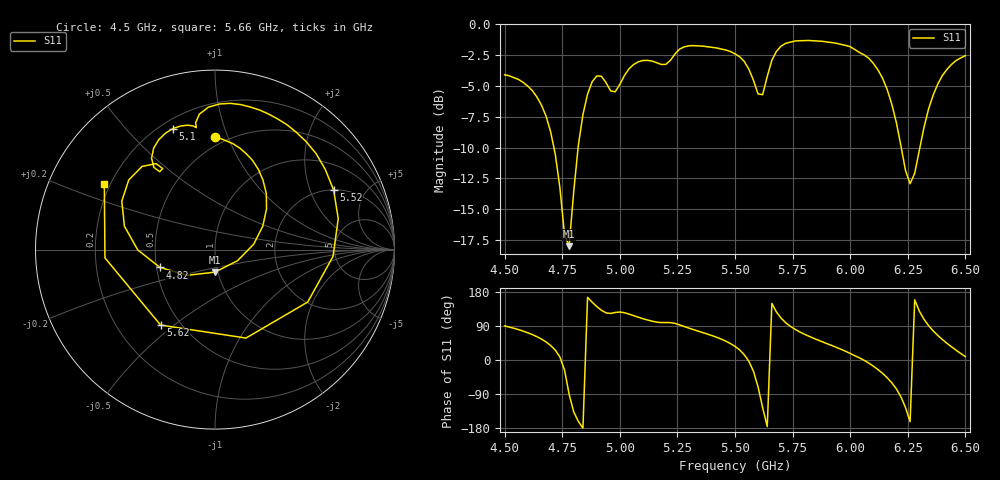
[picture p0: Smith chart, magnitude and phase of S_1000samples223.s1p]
! TOUCHSTONE file generated by CST MICROWAVE STUDIO
! Date and time: Thu Oct 27 10:35:22 2022
! Project name: L.cst
! Parameters = {Di=1.27; Epsilon_r=1.56; InnerDiameter=1.27; Length=2; Lf=10; Lg=60; OuterConductorThickness=0.2921; OuterDiameter=3.6; Wf=3; Wp=41.2; de=1.5; df=6.8; g=0.8; gx=0.69545; gy=0.935862; h=2.34; hf=1.524; px=14.1686; py=11.6259; w=9.7; wx=13.4732; wy=10.69}
! Header version: 2018
! Port assignment regex: !\s*Touchstone port\s*([0-9]+)\s*=\s*(CST MWS port|CST DS port)\s*([0-9]+|Zmin|Zmax)\s*\(\"(.*)\"\)(\s*mode\s*([0-9]+))?.*
! Touchstone port assignment:
! Touchstone port 1 = CST MWS port 1 ("")
# GHz S DB R 50
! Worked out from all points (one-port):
!   101 points, 4.5 GHz to 6.5 GHz, reference 50 ohm
!   lowest |S11| = -18.0 dB at 4.78 GHz (marker M1), VSWR 1.29, Z = 48.4 - j12.3 ohm
!   |S11| at or under -10 dB: 4.714 GHz to 4.819 GHz (105.2 MHz wide, 2.21 % of centre); 6.222 GHz to 6.303 GHz (81.01 MHz wide, 1.29 % of centre)
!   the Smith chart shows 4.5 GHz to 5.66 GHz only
!   S11 on the Smith chart (normalised r, x): 4.5 GHz: 0.44, +0.90; 4.82 GHz: 0.52, -0.12; 5.1 GHz: 0.25, +0.68; 5.52 GHz: 2.01, +2.95; 5.62 GHz: 0.39, -0.45; 5.66 GHz: 0.18, +0.27
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4.5  -4.09 90.1
4.68  -7.45 47.6
4.76  -17.09 -26.3
4.78  -18.02 -90.3
4.82  -9.83 -162.0
4.86  -5.66 165.5
4.92  -4.20 131.3
5  -4.87 126.6
5.1  -2.93 109.1
5.26  -2.00 92.6
5.4  -1.86 64.4
5.5  -2.39 36.0
5.52  -2.62 26.7
5.58  -4.53 -29.5
5.6  -5.64 -70.7
5.62  -5.71 -125.8
5.64  -4.22 -175.7
5.66  -2.90 149.5
5.7  -1.76 110.5
5.76  -1.35 81.2
6  -1.81 17.3
6.08  -2.73 -8.0
6.16  -5.26 -46.5
6.2  -7.94 -75.9
6.26  -12.94 -162.8
6.32  -8.39 107.8
6.38  -4.85 64.9
6.5  -2.53 8.7
